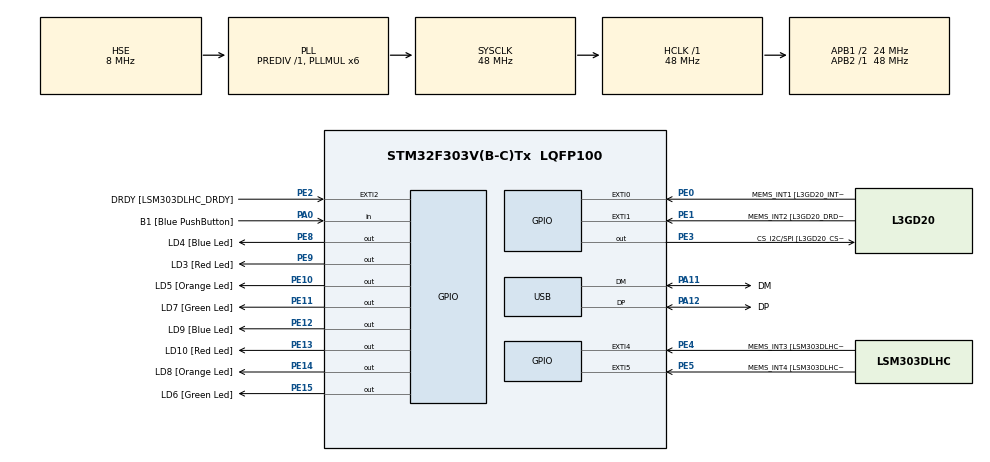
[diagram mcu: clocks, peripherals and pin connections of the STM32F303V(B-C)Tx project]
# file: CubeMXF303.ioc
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Mcu.Family=STM32F3
Mcu.Name=STM32F303V(B-C)Tx
Mcu.Package=LQFP100
NVIC.PriorityGroup=NVIC_PRIORITYGROUP_0
NVIC.USB_LP_CAN_RX0_IRQn=true\:0\:0\:false\:false\:true\:false
PA0.GPIO_Label=B1 [Blue PushButton]
PA0.Signal=GPIO_Input
PA11.GPIO_Label=DM
PA11.Mode=Device
PA11.Signal=USB_DM
PA12.GPIO_Label=DP
PA12.Mode=Device
PA12.Signal=USB_DP
PA13.GPIO_Label=SWDIO
PA13.Mode=Serial_Wire
PA13.Signal=SYS_JTMS-SWDIO
PA14.GPIO_Label=SWCLK
PA14.Mode=Serial_Wire
PA14.Signal=SYS_JTCK-SWCLK
PA5.GPIO_Label=SPI1_SCK [L3GD20_SCL/SPC]
PA5.Signal=SPI1_SCK
PA6.GPIO_Label=SPI1_MISO [L3GD20_SA0/SDO]
PA6.Signal=SPI1_MISO
PA7.GPIO_Label=SPI1_MISO [L3GD20_SDA/SDI/SDO]
PA7.Signal=SPI1_MOSI
PB3.GPIO_Label=SWO
PB3.Signal=SYS_JTDO-TRACESWO
PB6.GPIO_Label=I2C1_SCL [LSM303DLHC_SCL]
PB6.Signal=I2C1_SCL
PB7.GPIO_Label=I2C1_SDA [LSM303DLHC_SDA]
PB7.Signal=I2C1_SDA
PC14-OSC32_IN.GPIO_Label=OSC32_IN
PC14-OSC32_IN.Signal=RCC_OSC32_IN
PC15-OSC32_OUT.GPIO_Label=OSC32_OUT
PC15-OSC32_OUT.Signal=RCC_OSC32_OUT
PE0.GPIO_Label=MEMS_INT1 [L3GD20_INT1]
PE0.GPIO_ModeDefaultEXTI=GPIO_MODE_EVT_RISING
PE0.Signal=GPXTI0
PE1.GPIO_Label=MEMS_INT2 [L3GD20_DRDY/INT2]
PE1.GPIO_ModeDefaultEXTI=GPIO_MODE_EVT_RISING
PE1.Signal=GPXTI1
PE10.GPIO_Label=LD5 [Orange Led]
PE10.Signal=GPIO_Output
PE11.GPIO_Label=LD7 [Green Led]
PE11.Signal=GPIO_Output
PE12.GPIO_Label=LD9 [Blue Led]
PE12.Signal=GPIO_Output
PE13.GPIO_Label=LD10 [Red Led]
PE13.Signal=GPIO_Output
PE14.GPIO_Label=LD8 [Orange Led]
PE14.Signal=GPIO_Output
PE15.GPIO_Label=LD6 [Green Led]
PE15.Signal=GPIO_Output
PE2.GPIO_Label=DRDY [LSM303DLHC_DRDY]
PE2.GPIO_ModeDefaultEXTI=GPIO_MODE_EVT_RISING
PE2.Signal=GPXTI2
PE3.GPIO_Label=CS_I2C/SPI [L3GD20_CS_I2C/SPI]
PE3.Signal=GPIO_Output
PE4.GPIO_Label=MEMS_INT3 [LSM303DLHC_INT1]
PE4.GPIO_ModeDefaultEXTI=GPIO_MODE_EVT_RISING
PE4.Signal=GPXTI4
PE5.GPIO_Label=MEMS_INT4 [LSM303DLHC_INT2]
PE5.GPIO_ModeDefaultEXTI=GPIO_MODE_EVT_RISING
PE5.Signal=GPXTI5
PE8.GPIO_Label=LD4 [Blue Led]
PE8.Signal=GPIO_Output
PE9.GPIO_Label=LD3 [Red Led]
PE9.Signal=GPIO_Output
PF0-OSC_IN.GPIO_Label=OSC_IN
PF0-OSC_IN.Mode=HSE-External-Clock-Source
PF0-OSC_IN.Signal=RCC_OSC_IN
PF1-OSC_OUT.GPIO_Label=OSC_OUT
PF1-OSC_OUT.Signal=RCC_OSC_OUT
ProjectManager.HeapSize=0x200
ProjectManager.StackSize=0x400
ProjectManager.TargetToolchain=MDK-ARM V5
RCC.AHBFreq_Value=48000000
RCC.APB1CLKDivider=RCC_HCLK_DIV2
RCC.APB1Freq_Value=24000000
RCC.APB1TimFreq_Value=48000000
RCC.APB2Freq_Value=48000000
RCC.APB2TimFreq_Value=48000000
RCC.CortexFreq_Value=48000000
RCC.HCLKFreq_Value=48000000
RCC.HSE_VALUE=8000000
RCC.HSI_VALUE=8000000
RCC.LSE_VALUE=32768
RCC.PLLMUL=RCC_PLL_MUL6
RCC.SYSCLKFreq_VALUE=48000000
RCC.SYSCLKSourceVirtual=RCC_SYSCLKSOURCE_PLLCLK
RCC.USBFreq_Value=48000000
USB_DEVICE.CLASS_NAME_FS=CUSTOMHID
USB_DEVICE.VirtualMode=CustomHid
USB_DEVICE.VirtualModeFS=Custom_Hid_FS
VP_USB_DEVICE_VS_USB_DEVICE_CUSTOM_HID_FS.Mode=CUSTOM_HID_FS
board=STM32F3DISCOVERY

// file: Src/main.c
/* USER CODE BEGIN Header */
/**
  ******************************************************************************
  * @file           : main.c
  * @brief          : Main program body
  ******************************************************************************
  * This notice applies to any and all portions of this file
  * that are not between comment pairs USER CODE BEGIN and
  * USER CODE END. Other portions of this file, whether
  * inserted by the user or by software development tools
  * are owned by their respective copyright owners.
  *
  * Copyright (c) 2019 STMicroelectronics International N.V.
  * All rights reserved.
  *
  * Redistribution and use in source and binary forms, with or without
  * modification, are permitted, provided that the following conditions are met:
  *
  * 1. Redistribution of source code must retain the above copyright notice,
  *    this list of conditions and the following disclaimer.
  * 2. Redistributions in binary form must reproduce the above copyright notice,
  *    this list of conditions and the following disclaimer in the documentation
  *    and/or other materials provided with the distribution.
  * 3. Neither the name of STMicroelectronics nor the names of other
  *    contributors to this software may be used to endorse or promote products
  *    derived from this software without specific written permission.
  * 4. This software, including modifications and/or derivative works of this
  *    software, must execute solely and exclusively on microcontroller or
  *    microprocessor devices manufactured by or for STMicroelectronics.
  * 5. Redistribution and use of this software other than as permitted under
  *    this license is void and will automatically terminate your rights under
  *    this license.
  *
  * THIS SOFTWARE IS PROVIDED BY STMICROELECTRONICS AND CONTRIBUTORS "AS IS"
  * AND ANY EXPRESS, IMPLIED OR STATUTORY WARRANTIES, INCLUDING, BUT NOT
  * LIMITED TO, THE IMPLIED WARRANTIES OF MERCHANTABILITY, FITNESS FOR A
  * PARTICULAR PURPOSE AND NON-INFRINGEMENT OF THIRD PARTY INTELLECTUAL PROPERTY
  * RIGHTS ARE DISCLAIMED TO THE FULLEST EXTENT PERMITTED BY LAW. IN NO EVENT
  * SHALL STMICROELECTRONICS OR CONTRIBUTORS BE LIABLE FOR ANY DIRECT, INDIRECT,
  * INCIDENTAL, SPECIAL, EXEMPLARY, OR CONSEQUENTIAL DAMAGES (INCLUDING, BUT NOT
  * LIMITED TO, PROCUREMENT OF SUBSTITUTE GOODS OR SERVICES; LOSS OF USE, DATA,
  * OR PROFITS; OR BUSINESS INTERRUPTION) HOWEVER CAUSED AND ON ANY THEORY OF
  * LIABILITY, WHETHER IN CONTRACT, STRICT LIABILITY, OR TORT (INCLUDING
  * NEGLIGENCE OR OTHERWISE) ARISING IN ANY WAY OUT OF THE USE OF THIS SOFTWARE,
  * EVEN IF ADVISED OF THE POSSIBILITY OF SUCH DAMAGE.
  *
  ******************************************************************************
  */
/* USER CODE END Header */

#include "main.h"
#include "usb_device.h"

/* USER CODE BEGIN Includes */
#include "teeny_usb.h"
#include "string.h"
/* USER CODE END Includes */

void SystemClock_Config(void);
static void MX_GPIO_Init(void);

/* USER CODE BEGIN 0 */
#define  TX_EP   PCD_ENDP1
#define  RX_EP   PCD_ENDP2

uint8_t buf[4096];
__IO uint32_t data_cnt = 0;

// if data tx done, set rx valid again
void tusb_on_tx_done(tusb_device_t* dev, uint8_t EPn)
{
  if(EPn == TX_EP){
    tusb_set_rx_valid(dev, RX_EP);
  }
}

int tusb_on_rx_done(tusb_device_t* dev, uint8_t EPn, const void* data, uint16_t len)
{
  if(EPn == RX_EP){
    data_cnt = len;
    return len;
  }
  return 0;
}

void tusb_reconfig(tusb_device_t* dev)
{
  // call the BULK device init macro
  BULK_TUSB_INIT(dev);
  // setup recv buffer for rx end point
  tusb_set_recv_buffer(dev, RX_EP, buf, sizeof(buf));
  // enable rx ep after buffer set
  tusb_set_rx_valid(dev, RX_EP);
}

void tusb_delay_ms(uint32_t ms)
{
	HAL_Delay(ms);
}

/* USER CODE END 0 */

int main(void)
{

  /* MCU Configuration--------------------------------------------------------*/

  /* Reset of all peripherals, Initializes the Flash interface and the Systick. */
  HAL_Init();

  /* Configure the system clock */
  SystemClock_Config();

  /* Initialize all configured peripherals */
  MX_GPIO_Init();
  //MX_USB_DEVICE_Init();
  /* USER CODE BEGIN 2 */
	tusb_device_t* dev = tusb_get_device(TEST_APP_USB_CORE);
  tusb_open_device(dev);
  /* USER CODE END 2 */

  /* Infinite loop */
  /* USER CODE BEGIN WHILE */
  while (1)
  {
    if(data_cnt){
      // every data plus 1 and echo back
      for(int i=0;i<data_cnt;i++){
        buf[i]++;
      }
      tusb_send_data(dev, TX_EP, buf, data_cnt, TUSB_TXF_ZLP);
      data_cnt = 0;
    }
    /* USER CODE END WHILE */

  }
}

void SystemClock_Config(void)
{
  RCC_OscInitTypeDef RCC_OscInitStruct = {0};
  RCC_ClkInitTypeDef RCC_ClkInitStruct = {0};
  RCC_PeriphCLKInitTypeDef PeriphClkInit = {0};

  /**Initializes the CPU, AHB and APB busses clocks
  */
  RCC_OscInitStruct.OscillatorType = RCC_OSCILLATORTYPE_HSE;
  RCC_OscInitStruct.HSEState = RCC_HSE_BYPASS;
  RCC_OscInitStruct.HSEPredivValue = RCC_HSE_PREDIV_DIV1;
  RCC_OscInitStruct.HSIState = RCC_HSI_ON;
  RCC_OscInitStruct.PLL.PLLState = RCC_PLL_ON;
  RCC_OscInitStruct.PLL.PLLSource = RCC_PLLSOURCE_HSE;
  RCC_OscInitStruct.PLL.PLLMUL = RCC_PLL_MUL6;
  if (HAL_RCC_OscConfig(&RCC_OscInitStruct) != HAL_OK)
  {
    Error_Handler();
  }
  /**Initializes the CPU, AHB and APB busses clocks
  */
  RCC_ClkInitStruct.ClockType = RCC_CLOCKTYPE_HCLK|RCC_CLOCKTYPE_SYSCLK
                              |RCC_CLOCKTYPE_PCLK1|RCC_CLOCKTYPE_PCLK2;
  RCC_ClkInitStruct.SYSCLKSource = RCC_SYSCLKSOURCE_PLLCLK;
  RCC_ClkInitStruct.AHBCLKDivider = RCC_SYSCLK_DIV1;
  RCC_ClkInitStruct.APB1CLKDivider = RCC_HCLK_DIV2;
  RCC_ClkInitStruct.APB2CLKDivider = RCC_HCLK_DIV1;

  if (HAL_RCC_ClockConfig(&RCC_ClkInitStruct, FLASH_LATENCY_1) != HAL_OK)
  {
    Error_Handler();
  }
  PeriphClkInit.PeriphClockSelection = RCC_PERIPHCLK_USB;
  PeriphClkInit.USBClockSelection = RCC_USBCLKSOURCE_PLL;
  if (HAL_RCCEx_PeriphCLKConfig(&PeriphClkInit) != HAL_OK)
  {
    Error_Handler();
  }
}

static void MX_GPIO_Init(void)
{
  GPIO_InitTypeDef GPIO_InitStruct = {0};

  /* GPIO Ports Clock Enable */
  __HAL_RCC_GPIOE_CLK_ENABLE();
  __HAL_RCC_GPIOC_CLK_ENABLE();
  __HAL_RCC_GPIOF_CLK_ENABLE();
  __HAL_RCC_GPIOA_CLK_ENABLE();
  __HAL_RCC_GPIOB_CLK_ENABLE();

  /*Configure GPIO pin Output Level */
  HAL_GPIO_WritePin(GPIOE, CS_I2C_SPI_Pin|LD4_Pin|LD3_Pin|LD5_Pin
                          |LD7_Pin|LD9_Pin|LD10_Pin|LD8_Pin
                          |LD6_Pin, GPIO_PIN_RESET);

  /*Configure GPIO pins : DRDY_Pin MEMS_INT3_Pin MEMS_INT4_Pin MEMS_INT1_Pin
                           MEMS_INT2_Pin */
  GPIO_InitStruct.Pin = DRDY_Pin|MEMS_INT3_Pin|MEMS_INT4_Pin|MEMS_INT1_Pin
                          |MEMS_INT2_Pin;
  GPIO_InitStruct.Mode = GPIO_MODE_EVT_RISING;
  GPIO_InitStruct.Pull = GPIO_NOPULL;
  HAL_GPIO_Init(GPIOE, &GPIO_InitStruct);

  /*Configure GPIO pins : CS_I2C_SPI_Pin LD4_Pin LD3_Pin LD5_Pin
                           LD7_Pin LD9_Pin LD10_Pin LD8_Pin
                           LD6_Pin */
  GPIO_InitStruct.Pin = CS_I2C_SPI_Pin|LD4_Pin|LD3_Pin|LD5_Pin
                          |LD7_Pin|LD9_Pin|LD10_Pin|LD8_Pin
                          |LD6_Pin;
  GPIO_InitStruct.Mode = GPIO_MODE_OUTPUT_PP;
  GPIO_InitStruct.Pull = GPIO_NOPULL;
  GPIO_InitStruct.Speed = GPIO_SPEED_FREQ_LOW;
  HAL_GPIO_Init(GPIOE, &GPIO_InitStruct);

  /*Configure GPIO pin : B1_Pin */
  GPIO_InitStruct.Pin = B1_Pin;
  GPIO_InitStruct.Mode = GPIO_MODE_INPUT;
  GPIO_InitStruct.Pull = GPIO_NOPULL;
  HAL_GPIO_Init(B1_GPIO_Port, &GPIO_InitStruct);

  /*Configure GPIO pins : SPI1_SCK_Pin SPI1_MISO_Pin SPI1_MISOA7_Pin */
  GPIO_InitStruct.Pin = SPI1_SCK_Pin|SPI1_MISO_Pin|SPI1_MISOA7_Pin;
  GPIO_InitStruct.Mode = GPIO_MODE_AF_PP;
  GPIO_InitStruct.Pull = GPIO_NOPULL;
  GPIO_InitStruct.Speed = GPIO_SPEED_FREQ_HIGH;
  GPIO_InitStruct.Alternate = GPIO_AF5_SPI1;
  HAL_GPIO_Init(GPIOA, &GPIO_InitStruct);

  /*Configure GPIO pins : I2C1_SCL_Pin I2C1_SDA_Pin */
  GPIO_InitStruct.Pin = I2C1_SCL_Pin|I2C1_SDA_Pin;
  GPIO_InitStruct.Mode = GPIO_MODE_AF_OD;
  GPIO_InitStruct.Pull = GPIO_PULLUP;
  GPIO_InitStruct.Speed = GPIO_SPEED_FREQ_HIGH;
  GPIO_InitStruct.Alternate = GPIO_AF4_I2C1;
  HAL_GPIO_Init(GPIOB, &GPIO_InitStruct);

}

void Error_Handler(void)
{
}

/************************ (C) COPYRIGHT STMicroelectronics *****END OF FILE****/
